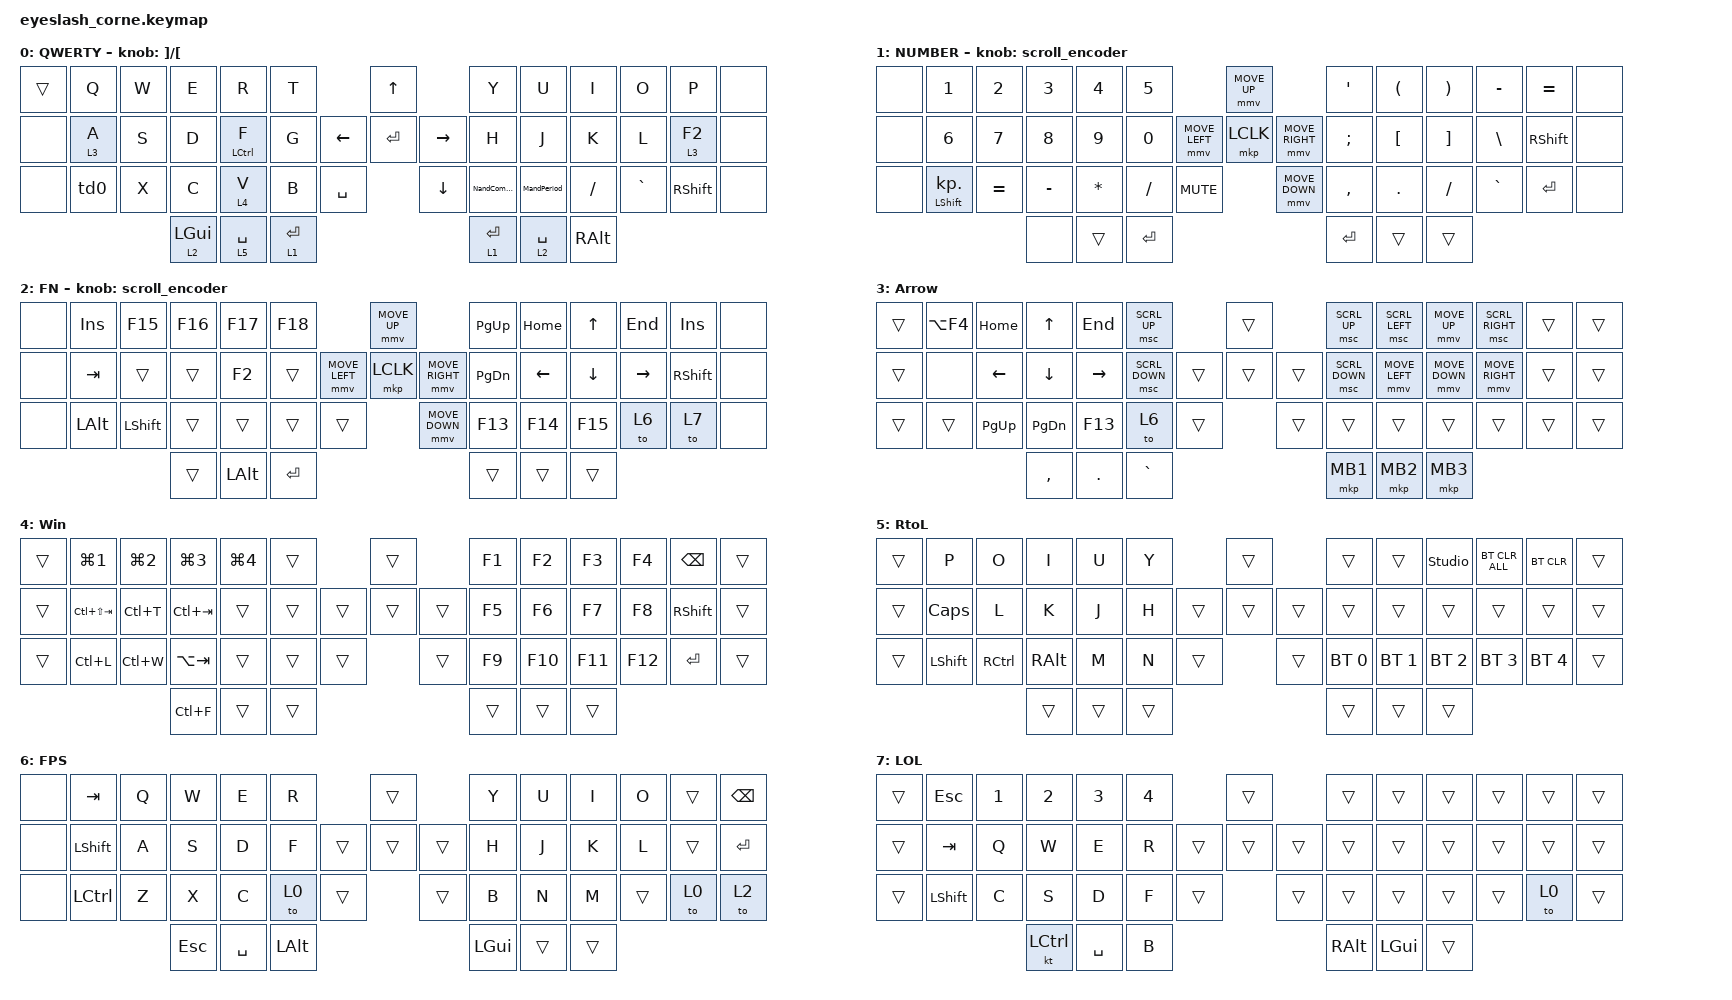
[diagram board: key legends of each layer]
#define ZMK_POINTING_DEFAULT_MOVE_VAL 1200  // 600
#define ZMK_POINTING_DEFAULT_SCRL_VAL 25   // 10

#include <input/processors.dtsi>
#include <zephyr/dt-bindings/input/input-event-codes.h>
#include <behaviors.dtsi>
#include <dt-bindings/zmk/bt.h>
#include <dt-bindings/zmk/keys.h>
#include <dt-bindings/zmk/pointing.h>
#include <dt-bindings/zmk/rgb.h>

&mmv_input_listener { input-processors = <&zip_xy_scaler 2 1>; };

&msc_input_listener { input-processors = <&zip_scroll_scaler 2 1>; };

&msc {
    acceleration-exponent = <1>;      // 0
    time-to-max-speed-ms = <100>;       // 300
    delay-ms = <0>;                   // 0
};

&mmv {
    time-to-max-speed-ms = <500>;
    acceleration-exponent = <1>;
    trigger-period-ms = <16>;
};

&soft_off { hold-time-ms = <2000>; };

/ {
    behaviors {
        td0: td0 {
            compatible = "zmk,behavior-tap-dance";
            display-name = "Shift/Caps Lock Tap Dance";
            #binding-cells = <0>;
            bindings = <&kp Z>, <&kp F14>;
        };

        NandComma: NandComma {
            compatible = "zmk,behavior-mod-morph";
            label = "NANDCOMMA";
            bindings = <&kp N>, <&kp RS(COMMA)>;

            #binding-cells = <0>;
            mods = <(MOD_RSFT)>;
        };

        MandPeriod: MandPeriod {
            compatible = "zmk,behavior-mod-morph";
            label = "MANDPERIOD";
            bindings = <&kp M>, <&kp RS(PERIOD)>;

            #binding-cells = <0>;
            mods = <(MOD_RSFT)>;
        };

        f_ctrl: f_ctrl {
            compatible = "zmk,behavior-hold-tap";
            label = "F_CTRL";
            bindings = <&kp>, <&kp>;

            #binding-cells = <2>;
            tapping-term-ms = <170>;
            quick-tap-ms = <125>;
            require-prior-idle-ms = <125>;
            flavor = "balanced";
            hold-while-undecided;
            hold-trigger-key-positions = <1 15 16 17 18 5 4 3 2 29 30 31 32 33 36 22 7 9 8 23 24 38 37 39 25 10 11 26 40 44 43 42 45 46 47>;
        };

        NEW_LT: NEW_LT {
            compatible = "zmk,behavior-hold-tap";
            label = "NEW_LT";
            bindings = <&mo>, <&kp>;

            #binding-cells = <2>;
            tapping-term-ms = <170>;
            flavor = "balanced";
            quick-tap-ms = <125>;
        };
    };

    rgb_encoder: rgb_encoder {
        compatible = "zmk,behavior-sensor-rotate";
        #sensor-binding-cells = <0>;
        bindings = <&rgb_ug RGB_BRI>, <&rgb_ug RGB_BRD>;
    };

    scroll_encoder: scroll_encoder {
        compatible = "zmk,behavior-sensor-rotate";
        #sensor-binding-cells = <0>;
        bindings = <&msc SCRL_DOWN>, <&msc SCRL_UP>;

        tap-ms = <100>;
    };

    combos {
        compatible = "zmk,combos";

        softoff {
            bindings = <&soft_off>;
            key-positions = <1 29 14>;
            layers = <0>;
        };

        tab {
            bindings = <&kp TAB>;
            key-positions = <1 14>;
            layers = <0>;
        };

        backspace {
            bindings = <&kp BACKSPACE>;
            key-positions = <4 5>;
            layers = <2 1 0 5>;
            timeout-ms = <30>;
        };

        rightbackspace {
            bindings = <&kp BACKSPACE>;
            key-positions = <10 11>;
            layers = <0 2 1>;
            timeout-ms = <50>;
        };

        paste {
            bindings = <&kp LC(V)>;
            key-positions = <17 32>;
            layers = <0>;
        };

        esc {
            bindings = <&kp ESCAPE>;
            key-positions = <2 1>;
            layers = <0>;
        };

        del {
            bindings = <&kp DEL>;
            key-positions = <17 18>;
            layers = <0 2 1 5>;
        };

        caps {
            bindings = <&kp CAPS>;
            key-positions = <15 2>;
            layers = <0>;
        };

        ALT {
            bindings = <&kp LEFT_ALT>;
            key-positions = <3 16>;
            layers = <0>;
        };

        sshift {
            bindings = <&kp LEFT_SHIFT>;
            key-positions = <14 29>;
            layers = <0>;
        };
    };

    keymap {
        compatible = "zmk,keymap";

        default_layer {
            display-name = "QWERTY";
            bindings = <
&trans  &kp Q        &kp W  &kp E           &kp R            &kp T                               &kp UP                &kp Y        &kp U        &kp I          &kp O      &kp P            &none
&none   &NEW_LT 3 A  &kp S  &kp D           &f_ctrl LCTRL F  &kp G                     &kp LEFT  &kp ENTER  &kp RIGHT  &kp H        &kp J        &kp K          &kp L      &NEW_LT 3 F2     &none
&none   &td0         &kp X  &kp C           &NEW_LT 4 V      &kp B        &kp SPACE              &kp DOWN              &NandComma   &MandPeriod  &kp SLASH      &kp GRAVE  &kp RIGHT_SHIFT  &none
                            &lt 2 LEFT_GUI  &lt 5 SPACE      &lt 1 ENTER                                               &lt 1 ENTER  &lt 2 SPACE  &kp RIGHT_ALT
            >;

            sensor-bindings = <&inc_dec_kp RIGHT_BRACKET LEFT_BRACKET>;
        };

        lower_layer {
            display-name = "NUMBER";
            bindings = <
&none  &kp NUMBER_1           &kp NUMBER_2  &kp NUMBER_3  &kp NUMBER_4  &kp N5                                   &mmv MOVE_UP                     &kp SQT    &kp LEFT_PARENTHESIS  &kp RIGHT_PARENTHESIS  &kp MINUS  &kp EQUAL        &none
&none  &kp NUMBER_6           &kp N7        &kp N8        &kp N9        &kp N0                   &mmv MOVE_LEFT  &mkp LCLK       &mmv MOVE_RIGHT  &kp SEMI   &kp LBKT              &kp RBKT               &kp BSLH   &kp RIGHT_SHIFT  &none
&none  &mt LEFT_SHIFT KP_DOT  &kp EQUAL     &kp MINUS     &kp ASTERISK  &kp SLASH  &kp C_MUTE                    &mmv MOVE_DOWN                   &kp COMMA  &kp DOT               &kp FSLH               &kp GRAVE  &kp ENTER        &none
                                            &none         &trans        &kp ENTER                                                                 &kp ENTER  &trans                &trans
            >;

            sensor-bindings = <&scroll_encoder>;
        };

        raise_layer {
            display-name = "FN";
            bindings = <
&none  &kp INSERT    &kp F15         &kp F16  &kp F17       &kp F18                              &mmv MOVE_UP                     &kp PAGE_UP    &kp HOME  &kp UP    &kp END    &kp INSERT  &none
&none  &kp TAB       &trans          &trans   &kp F2        &trans               &mmv MOVE_LEFT  &mkp LCLK       &mmv MOVE_RIGHT  &kp PAGE_DOWN  &kp LEFT  &kp DOWN  &kp RIGHT  &kp RSHFT   &none
&none  &kp LEFT_ALT  &kp LEFT_SHIFT  &trans   &trans        &trans     &trans                    &mmv MOVE_DOWN                   &kp F13        &kp F14   &kp F15   &to 6      &to 7       &none
                                     &trans   &kp LEFT_ALT  &kp ENTER                                                             &trans         &trans    &trans
            >;

            sensor-bindings = <&scroll_encoder>;
        };

        little {
            bindings = <
&trans  &kp LA(F4)  &kp HOME        &kp UP_ARROW    &kp END          &msc SCRL_UP                      &trans          &msc SCRL_UP    &msc SCRL_LEFT  &mmv MOVE_UP    &msc SCRL_RIGHT  &trans  &trans
&trans  &none       &kp LEFT_ARROW  &kp DOWN_ARROW  &kp RIGHT_ARROW  &msc SCRL_DOWN            &trans  &trans  &trans  &msc SCRL_DOWN  &mmv MOVE_LEFT  &mmv MOVE_DOWN  &mmv MOVE_RIGHT  &trans  &trans
&trans  &trans      &kp PAGE_UP     &kp PAGE_DOWN   &kp F13          &to 6           &trans            &trans          &trans          &trans          &trans          &trans           &trans  &trans
                                    &kp COMMA       &kp PERIOD       &kp GRAVE                                         &mkp MB1        &mkp MB2        &mkp MB3
            >;

            label = "Arrow";
        };

        win {
            bindings = <
&trans  &kp LG(NUMBER_1)  &kp LG(NUMBER_2)  &kp LG(NUMBER_3)  &kp LG(NUMBER_4)  &trans                    &trans          &kp F1  &kp F2   &kp F3   &kp F4   &kp BSPC   &trans
&trans  &kp LC(LS(TAB))   &kp LC(T)         &kp LC(TAB)       &trans            &trans            &trans  &trans  &trans  &kp F5  &kp F6   &kp F7   &kp F8   &kp RSHFT  &trans
&trans  &kp LC(L)         &kp LC(W)         &kp LA(TAB)       &trans            &trans  &trans            &trans          &kp F9  &kp F10  &kp F11  &kp F12  &kp ENTER  &trans
                                            &kp LC(F)         &trans            &trans                                    &trans  &trans   &trans
            >;

            label = "Win";
        };

        RtoL {
            bindings = <
&trans  &kp P           &kp O      &kp I          &kp U   &kp Y                     &trans          &trans        &trans        &studio_unlock  &bt BT_CLR_ALL  &bt BT_CLR    &trans
&trans  &kp CAPS        &kp L      &kp K          &kp J   &kp H             &trans  &trans  &trans  &trans        &trans        &trans          &trans          &trans        &trans
&trans  &kp LEFT_SHIFT  &kp RCTRL  &kp RIGHT_ALT  &kp M   &kp N   &trans            &trans          &bt BT_SEL 0  &bt BT_SEL 1  &bt BT_SEL 2    &bt BT_SEL 3    &bt BT_SEL 4  &trans
                                   &trans         &trans  &trans                                    &trans        &trans        &trans
            >;

            label = "RtoL";
        };

        FPS {
            bindings = <
&none  &kp TAB         &kp Q  &kp W       &kp E      &kp R                           &trans          &kp Y         &kp U   &kp I   &kp O   &trans  &kp BSPC
&none  &kp LEFT_SHIFT  &kp A  &kp S       &kp D      &kp F                   &trans  &trans  &trans  &kp H         &kp J   &kp K   &kp L   &trans  &kp ENTER
&none  &kp LCTRL       &kp Z  &kp X       &kp C      &to 0         &trans            &trans          &kp B         &kp N   &kp M   &trans  &to 0   &to 2
                              &kp ESCAPE  &kp SPACE  &kp LEFT_ALT                                    &kp LEFT_GUI  &trans  &trans
            >;

            label = "FPS";
        };

        LOL {
            bindings = <
&trans  &kp ESCAPE      &kp NUMBER_1  &kp NUMBER_2  &kp NUMBER_3  &kp NUMBER_4                    &trans          &trans         &trans        &trans  &trans  &trans  &trans
&trans  &kp TAB         &kp Q         &kp W         &kp E         &kp R                   &trans  &trans  &trans  &trans         &trans        &trans  &trans  &trans  &trans
&trans  &kp LEFT_SHIFT  &kp C         &kp S         &kp D         &kp F         &trans            &trans          &trans         &trans        &trans  &trans  &to 0   &trans
                                      &kt LCTRL     &kp SPACE     &kp B                                           &kp RIGHT_ALT  &kp LEFT_GUI  &trans
            >;

            label = "LOL";
        };
    };
};
